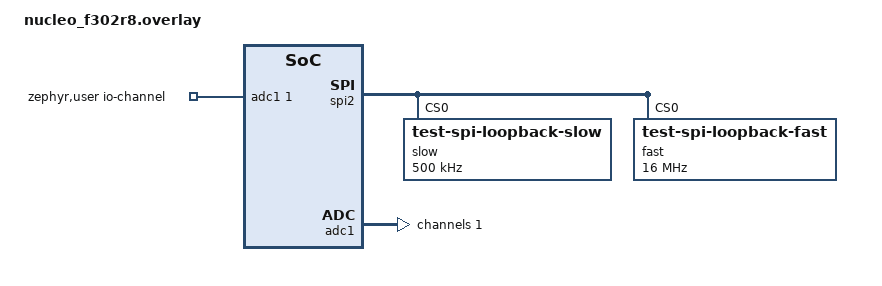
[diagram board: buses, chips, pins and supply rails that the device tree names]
/*
 * Copyright (c) 2022 Kumar Gala <galak@kernel.org>
 *
 * SPDX-License-Identifier: Apache-2.0
 */

&spi2 {
	slow@0 {
		compatible = "test-spi-loopback-slow";
		reg = <0>;
		spi-max-frequency = <500000>;
	};

	fast@0 {
		compatible = "test-spi-loopback-fast";
		reg = <0>;
		spi-max-frequency = <16000000>;
	};
};

/ {
	zephyr,user {
		io-channels = <&adc1 1>;
	};
};

&adc1 {
	#address-cells = <1>;
	#size-cells = <0>;
	channel@1 {
		reg = <1>;
		zephyr,gain = "ADC_GAIN_1";
		zephyr,reference = "ADC_REF_INTERNAL";
		zephyr,acquisition-time = <ADC_ACQ_TIME_DEFAULT>;
		zephyr,resolution = <12>;
	};
};
